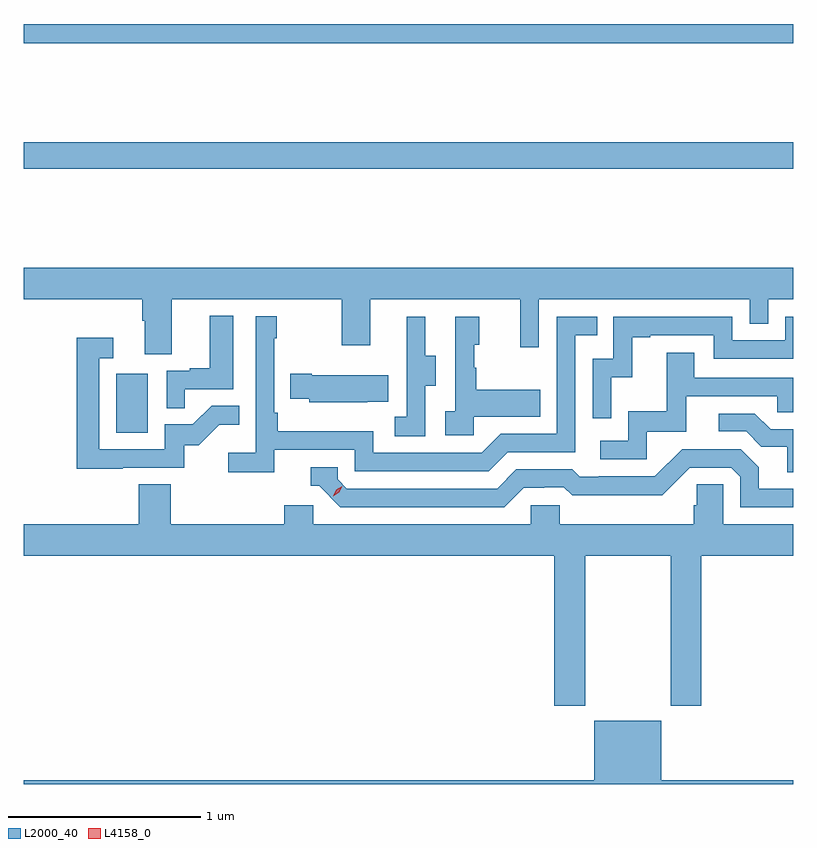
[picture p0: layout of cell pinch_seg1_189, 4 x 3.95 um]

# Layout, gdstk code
import gdstk
lib = gdstk.Library(unit=1e-6, precision=1e-09)
def R(c, l, rs):  # rectangles x0, y0, x1, y1
    for r in rs: c.add(gdstk.rectangle(r[:2], r[2:], *l))
def P(c, l, *ps):  # polygons
    for p in ps: c.add(gdstk.Polygon(p, *l))
L2000_40 = (2000, 40)
L4158_0 = (4158, 0)

pinch_seg1_189 = lib.new_cell('pinch_seg1_189')
R(pinch_seg1_189, L2000_40, [(964.298,581.676,964.462,581.983), (963.817,583.048,967.817,583.184), (963.817,583.7,967.817,583.8)])
P(pinch_seg1_189, L2000_40, [(964.585,582.368),(965.47,582.368),(965.47,582.129),(965.617,582.129),(965.617,582.368),(966.398,582.368),(966.398,582.12),(966.495,582.12),(966.495,582.368),(967.59,582.368),(967.59,582.241),(967.686,582.241),(967.686,582.368),(967.817,582.368),(967.817,582.532),(963.817,582.532),(963.817,582.368),(964.433,582.368),(964.433,582.256),(964.445,582.256),(964.445,582.082),(964.585,582.082)],
  [(964.655,581.901),(964.906,581.901),(964.906,582.283),(964.784,582.283),(964.784,582.01),(964.681,582.01),(964.681,581.997),(964.56,581.997),(964.56,581.803),(964.655,581.803)],
  [(965.12,581.586),(965.538,581.586),(965.538,581.475),(966.235,581.475),(966.334,581.574),(966.684,581.574),(966.684,582.183),(966.797,582.183),(966.797,582.279),(966.588,582.279),(966.588,581.67),(966.297,581.67),(966.198,581.571),(965.634,581.571),(965.634,581.683),(965.138,581.683),(965.138,581.779),(965.118,581.779),(965.118,582.167),(965.131,582.167),(965.131,582.28),(965.022,582.28),(965.022,581.572),(964.881,581.572),(964.881,581.47),(965.12,581.47)],
  [(966.87,581.963),(966.98,581.963),(966.98,582.171),(967.075,582.171),(967.075,582.183),(967.404,582.183),(967.404,582.06),(967.817,582.06),(967.817,582.279),(967.776,582.279),(967.776,582.156),(967.5,582.156),(967.5,582.279),(966.882,582.279),(966.882,582.06),(966.774,582.06),(966.774,581.751),(966.87,581.751)],
  [(966.156,581.759),(966.503,581.759),(966.503,581.899),(966.169,581.899),(966.169,582.014),(966.159,582.014),(966.159,582.132),(966.184,582.132),(966.184,582.277),(966.06,582.277),(966.06,581.786),(966.009,581.786),(966.009,581.661),(966.156,581.661)],
  [(965.904,581.92),(965.959,581.92),(965.959,582.075),(965.905,582.075),(965.905,582.277),(965.807,582.277),(965.807,582.063),(965.808,582.063),(965.808,581.759),(965.745,581.759),(965.745,581.656),(965.904,581.656)],
  [(964.331,581.493),(964.65,581.493),(964.65,581.61),(964.726,581.61),(964.833,581.717),(964.937,581.717),(964.937,581.816),(964.794,581.816),(964.696,581.718),(964.551,581.718),(964.551,581.589),(964.209,581.589),(964.209,582.063),(964.282,582.063),(964.282,582.169),(964.093,582.169),(964.093,581.488),(964.331,581.488)],
  [(967.056,581.679),(967.261,581.679),(967.261,581.865),(967.735,581.865),(967.735,581.781),(967.817,581.781),(967.817,581.961),(967.303,581.961),(967.303,582.091),(967.159,582.091),(967.159,581.788),(966.96,581.788),(966.96,581.634),(966.813,581.634),(966.813,581.538),(967.056,581.538)],
  [(965.603,581.837),(965.711,581.837),(965.711,581.974),(965.314,581.974),(965.314,581.982),(965.203,581.982),(965.203,581.852),(965.301,581.852),(965.301,581.834),(965.603,581.834)],
  [(967.817,581.694),(967.699,581.694),(967.618,581.775),(967.431,581.775),(967.431,581.682),(967.572,581.682),(967.652,581.602),(967.787,581.602),(967.787,581.47),(967.817,581.47)],
  [(966.415,581.388),(966.522,581.388),(966.522,581.391),(966.625,581.391),(966.667,581.349),(966.9,581.349),(966.9,581.351),(967.136,581.351),(967.278,581.493),(967.494,581.493),(967.542,581.445),(967.542,581.289),(967.817,581.289),(967.817,581.385),(967.639,581.385),(967.639,581.495),(967.545,581.589),(967.239,581.589),(967.098,581.448),(966.805,581.448),(966.805,581.445),(966.706,581.445),(966.667,581.484),(966.378,581.484),(966.279,581.385),(965.496,581.385),(965.448,581.433),(965.448,581.496),(965.309,581.496),(965.309,581.4),(965.352,581.4),(965.463,581.289),(966.316,581.289)],
  [(964.415,581.408),(964.415,581.2),(963.817,581.2),(963.817,581.036),(966.575,581.036),(966.575,580.257),(966.735,580.257),(966.735,581.036),(967.18,581.036),(967.18,580.257),(967.34,580.257),(967.34,581.036),(967.817,581.036),(967.817,581.2),(967.452,581.2),(967.452,581.408),(967.315,581.408),(967.315,581.298),(967.301,581.298),(967.301,581.2),(966.603,581.2),(966.603,581.298),(966.453,581.298),(966.453,581.2),(965.322,581.2),(965.322,581.298),(965.171,581.298),(965.171,581.2),(964.58,581.2),(964.58,581.408)],
  [(967.817,579.868),(967.132,579.868),(967.132,580.177),(966.782,580.177),(966.782,579.868),(963.817,579.868),(963.817,579.849),(967.817,579.849)])
P(pinch_seg1_189, L4158_0, [(965.426,581.346),(965.426,581.347),(965.442,581.379),(965.472,581.398),(965.473,581.398),(965.473,581.398),(965.456,581.366),(965.426,581.346)])

lib.write_gds('pinch_seg1_189.gds')
